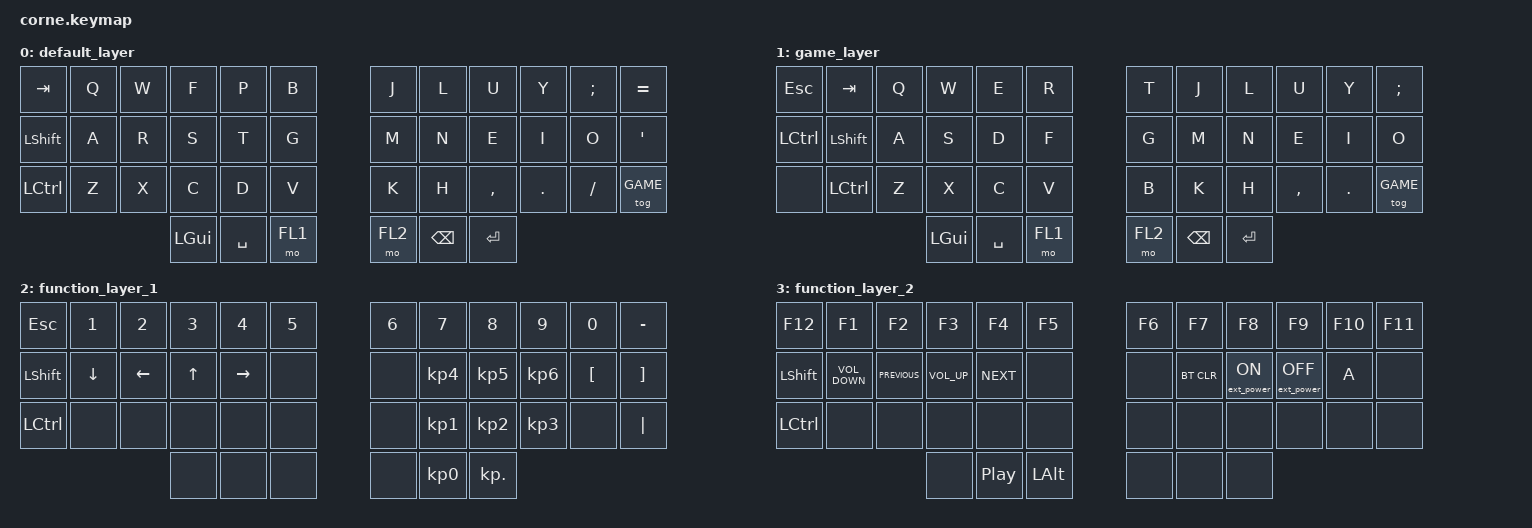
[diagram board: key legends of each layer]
/*
 * Copyright (c) 2020 The ZMK Contributors
 *
 * SPDX-License-Identifier: MIT
 */

#include <behaviors.dtsi>
#include <dt-bindings/zmk/keys.h>
#include <dt-bindings/zmk/bt.h>
#include <dt-bindings/zmk/ext_power.h>

#define DEFAULT 0
#define GAME 1
#define FL1 2
#define FL2 3

/ {

        keymap {
                compatible = "zmk,keymap";

                default_layer {
                        bindings = <
   &kp TAB     &kp Q   &kp W   &kp F      &kp P       &kp B                  &kp J     &kp L      &kp U       &kp Y     &kp SEMI   &kp EQUAL
   &kp LSHFT   &kp A   &kp R   &kp S      &kp T       &kp G                  &kp M     &kp N      &kp E       &kp I     &kp O      &kp SQT
   &kp LCTRL   &kp Z   &kp X   &kp C      &kp D       &kp V                  &kp K     &kp H      &kp COMMA   &kp DOT   &kp FSLH   &tog GAME
                               &kp LGUI   &kp SPACE   &mo FL1                &mo FL2   &kp BSPC   &kp RET
                        >;
                };
                
                game_layer {
                        bindings = <
   &kp ESC     &kp TAB     &kp Q   &kp W      &kp E       &kp R                  &kp T     &kp J      &kp L   &kp U       &kp Y     &kp SEMI
   &kp LCTRL   &kp LSHFT   &kp A   &kp S      &kp D       &kp F                  &kp G     &kp M      &kp N   &kp E       &kp I     &kp O
   &none       &kp LCTRL   &kp Z   &kp X      &kp C       &kp V                  &kp B     &kp K      &kp H   &kp COMMA   &kp DOT   &tog GAME
                                   &kp LGUI   &kp SPACE   &mo FL1                &mo FL2   &kp BSPC   &kp RET
                        >;
                };

                function_layer_1 {
                        bindings = <
   &kp ESC     &kp N1     &kp N2     &kp N3   &kp N4      &kp N5                &kp N6   &kp N7      &kp N8      &kp N9      &kp N0     &kp MINUS
   &kp LSHFT   &kp DOWN   &kp LEFT   &kp UP   &kp RIGHT   &none                 &none    &kp KP_N4   &kp KP_N5   &kp KP_N6   &kp LBKT   &kp RBKT
   &kp LCTRL   &none      &none      &none    &none       &none                 &none    &kp KP_N1   &kp KP_N2   &kp KP_N3   &none      &kp PIPE
                                     &none    &none       &none                 &none    &kp KP_N0   &kp KP_DOT
                        >;
                };

                function_layer_2 {
                        bindings = <
   &kp F12     &kp F1              &kp F2           &kp F3            &kp F4             &kp F5                  &kp F6   &kp F7        &kp F8             &kp F9              &kp F10   &kp F11
   &kp LSHFT   &kp C_VOLUME_DOWN   &kp C_PREVIOUS   &kp C_VOLUME_UP   &kp C_NEXT         &none                   &none    &bt BT_CLR    &ext_power EP_ON   &ext_power EP_OFF   &kp A     &none
   &kp LCTRL   &none               &none            &none             &none              &none                   &none    &none         &none              &none               &none     &none
                    	                            &none             &kp C_PLAY_PAUSE   &kp LALT                &none    &none         &none
                        >;    
                };

        };
};
